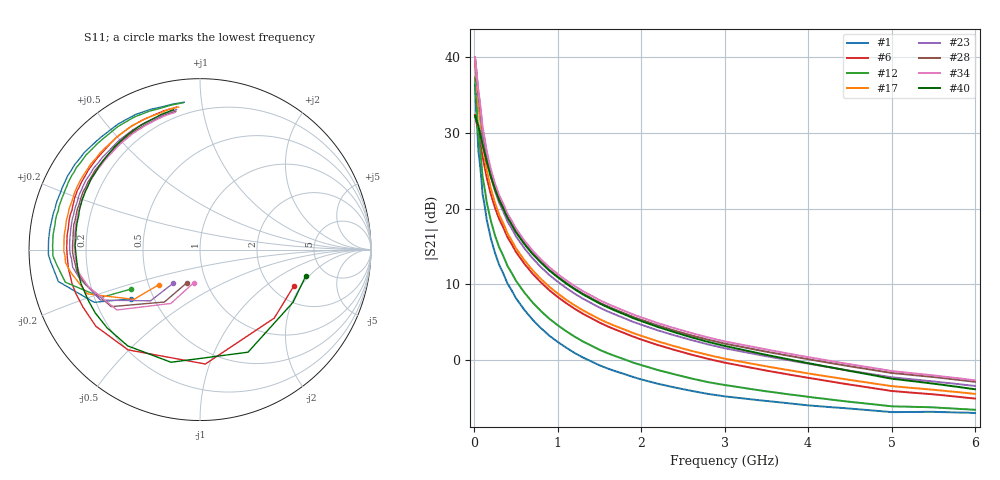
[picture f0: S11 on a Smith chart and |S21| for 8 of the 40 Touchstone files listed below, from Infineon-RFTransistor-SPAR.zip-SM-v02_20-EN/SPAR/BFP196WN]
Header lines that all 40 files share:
! Infineon Technologies  Discrete & RF Semiconductors
! BFP196WN
! Common Emitter S-Parameters:  Jan 2017
# GHz  S  MA  R  50
!  f  S11  S21  S12  S22
! GHz  MAG  ANG  MAG  ANG  MAG  ANG  MAG  ANG
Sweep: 10 MHz to 6 GHz
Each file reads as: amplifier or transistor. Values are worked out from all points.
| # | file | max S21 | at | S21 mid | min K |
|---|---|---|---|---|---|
| 1 | BFP196WN_VCE_1.0V_IC_0.11A.s2p | 36.3 dB | 10 MHz | -3.1 dB at 2.2 GHz | 0.59 |
| 2 | BFP196WN_VCE_1.0V_IC_0.12A.s2p | 35.6 dB | 10 MHz | -4.0 dB at 2.2 GHz | 0.62 |
| 3 | BFP196WN_VCE_1.0V_IC_0.13A.s2p | 35.0 dB | 10 MHz | -4.7 dB at 2.2 GHz | 0.69 |
| 4 | BFP196WN_VCE_1.0V_IC_0.14A.s2p | 34.3 dB | 10 MHz | -5.4 dB at 2.2 GHz | 0.69 |
| 5 | BFP196WN_VCE_1.0V_IC_0.15A.s2p | 33.7 dB | 10 MHz | -6.1 dB at 2.2 GHz | 0.68 |
| 6 | BFP196WN_VCE_1.0V_IC_15mA.s2p | 32.3 dB | 10 MHz | 2.0 dB at 2.2 GHz | 0.05 |
| 7 | BFP196WN_VCE_1.0V_IC_95mA.s2p | 37.3 dB | 10 MHz | -1.6 dB at 2.2 GHz | 0.50 |
| 8 | BFP196WN_VCE_2.0V_IC_0.11A.s2p | 39.1 dB | 10 MHz | 1.9 dB at 2.2 GHz | 0.47 |
| 9 | BFP196WN_VCE_2.0V_IC_0.12A.s2p | 38.8 dB | 10 MHz | 1.1 dB at 2.2 GHz | 0.53 |
| 10 | BFP196WN_VCE_2.0V_IC_0.13A.s2p | 38.3 dB | 10 MHz | 0.3 dB at 2.2 GHz | 0.58 |
| 11 | BFP196WN_VCE_2.0V_IC_0.14A.s2p | 37.8 dB | 10 MHz | -0.5 dB at 2.2 GHz | 0.61 |
| 12 | BFP196WN_VCE_2.0V_IC_0.15A.s2p | 37.3 dB | 10 MHz | -1.3 dB at 2.2 GHz | 0.64 |
| 13 | BFP196WN_VCE_2.0V_IC_15mA.s2p | 32.4 dB | 10 MHz | 3.0 dB at 2.2 GHz | 0.02 |
| 14 | BFP196WN_VCE_2.0V_IC_95mA.s2p | 39.4 dB | 10 MHz | 2.9 dB at 2.2 GHz | 0.32 |
| 15 | BFP196WN_VCE_3.0V_IC_0.11A.s2p | 39.8 dB | 10 MHz | 3.6 dB at 2.2 GHz | 0.36 |
| 16 | BFP196WN_VCE_3.0V_IC_0.12A.s2p | 39.6 dB | 10 MHz | 3.1 dB at 2.2 GHz | 0.40 |
| 17 | BFP196WN_VCE_3.0V_IC_0.13A.s2p | 39.4 dB | 10 MHz | 2.5 dB at 2.2 GHz | 0.44 |
| 18 | BFP196WN_VCE_3.0V_IC_0.14A.s2p | 39.1 dB | 10 MHz | 1.8 dB at 2.2 GHz | 0.52 |
| 19 | BFP196WN_VCE_3.0V_IC_0.15A.s2p | 38.6 dB | 10 MHz | 1.1 dB at 2.2 GHz | 0.58 |
| 20 | BFP196WN_VCE_3.0V_IC_15mA.s2p | 32.4 dB | 10 MHz | 3.5 dB at 2.2 GHz | 0.04 |
| 21 | BFP196WN_VCE_3.0V_IC_95mA.s2p | 39.8 dB | 10 MHz | 4.1 dB at 2.2 GHz | 0.30 |
| 22 | BFP196WN_VCE_4.0V_IC_0.11A.s2p | 40.0 dB | 10 MHz | 4.3 dB at 2.2 GHz | 0.35 |
| 23 | BFP196WN_VCE_4.0V_IC_0.12A.s2p | 39.9 dB | 10 MHz | 4.0 dB at 2.2 GHz | 0.37 |
| 24 | BFP196WN_VCE_4.0V_IC_0.13A.s2p | 39.8 dB | 10 MHz | 3.5 dB at 2.2 GHz | 0.42 |
| 25 | BFP196WN_VCE_4.0V_IC_0.14A.s2p | 39.5 dB | 10 MHz | 3.0 dB at 2.2 GHz | 0.45 |
| 26 | BFP196WN_VCE_4.0V_IC_0.15A.s2p | 39.2 dB | 10 MHz | 2.4 dB at 2.2 GHz | 0.51 |
| 27 | BFP196WN_VCE_4.0V_IC_15mA.s2p | 32.3 dB | 10 MHz | 3.8 dB at 2.2 GHz | 0.03 |
| 28 | BFP196WN_VCE_4.0V_IC_95mA.s2p | 39.9 dB | 10 MHz | 4.6 dB at 2.2 GHz | 0.27 |
| 29 | BFP196WN_VCE_5.0V_IC_0.11A.s2p | 40.0 dB | 10 MHz | 4.7 dB at 2.2 GHz | 0.31 |
| 30 | BFP196WN_VCE_5.0V_IC_0.12A.s2p | 40.0 dB | 10 MHz | 4.4 dB at 2.2 GHz | 0.33 |
| 31 | BFP196WN_VCE_5.0V_IC_0.13A.s2p | 39.9 dB | 10 MHz | 4.0 dB at 2.2 GHz | 0.39 |
| 32 | BFP196WN_VCE_5.0V_IC_0.14A.s2p | 39.7 dB | 10 MHz | 3.5 dB at 2.2 GHz | 0.47 |
| 33 | BFP196WN_VCE_5.0V_IC_15mA.s2p | 32.3 dB | 10 MHz | 4.0 dB at 2.2 GHz | -0.01 |
| 34 | BFP196WN_VCE_5.0V_IC_95mA.s2p | 39.9 dB | 10 MHz | 4.9 dB at 2.2 GHz | 0.28 |
| 35 | BFP196WN_VCE_6.0V_IC_0.11A.s2p | 40.0 dB | 10 MHz | 4.9 dB at 2.2 GHz | 0.30 |
| 36 | BFP196WN_VCE_6.0V_IC_15mA.s2p | 32.3 dB | 10 MHz | 4.2 dB at 2.2 GHz | 0.04 |
| 37 | BFP196WN_VCE_6.0V_IC_95mA.s2p | 39.9 dB | 10 MHz | 5.1 dB at 2.2 GHz | 0.26 |
| 38 | BFP196WN_VCE_7.0V_IC_15mA.s2p | 32.3 dB | 10 MHz | 4.3 dB at 2.2 GHz | 0.05 |
| 39 | BFP196WN_VCE_7.0V_IC_95mA.s2p | 39.8 dB | 10 MHz | 5.2 dB at 2.2 GHz | 0.26 |
| 40 | BFP196WN_VCE_8.0V_IC_15mA.s2p | 32.2 dB | 10 MHz | 4.4 dB at 2.2 GHz | 0.00 |

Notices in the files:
Hoja de datos/BFP 450/Infineon-RFTransistor-SPAR.zip-SM-v02_20-EN/SPAR/BFP196WN/BFP196WN_VCE_1.0V_IC_0.11A.s2p:
(c) 2017  Infineon Technologies AG, Munich
